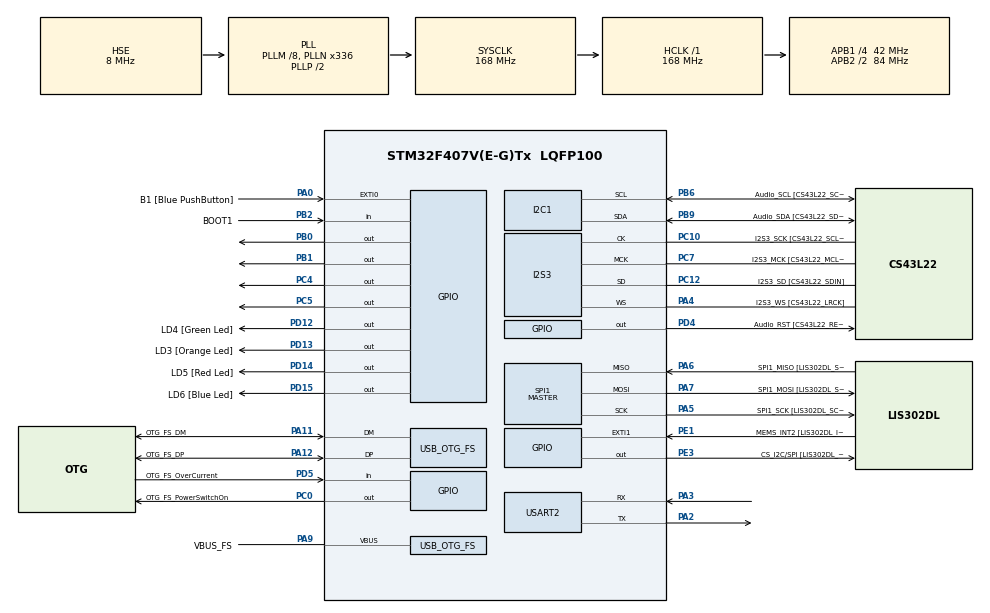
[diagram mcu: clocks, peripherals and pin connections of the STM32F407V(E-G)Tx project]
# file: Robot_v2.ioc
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FREERTOS.Tasks01=defaultTask,24,128,StartDefaultTask,Default,NULL,Dynamic,NULL,NULL
I2S3.AudioFreq-Half_Duplex_Master=I2S_AUDIOFREQ_96K
I2S3.ErrorAudioFreq=-2.34 %
I2S3.ErrorAudioFreq-Half_Duplex_Master=0.8 %
I2S3.FullDuplexMode=I2S_FULLDUPLEXMODE_DISABLE
I2S3.Instance=SPI$Index
I2S3.RealAudioFreq=93.75 KHz
I2S3.RealAudioFreq-Half_Duplex_Master=96.774 KHz
I2S3.VirtualMode=I2S_MODE_MASTER
Mcu.Family=STM32F4
Mcu.Name=STM32F407V(E-G)Tx
Mcu.Package=LQFP100
NVIC.OTG_FS_IRQn=true\:5\:0\:false\:false\:true\:true\:true\:true\:true
NVIC.PriorityGroup=NVIC_PRIORITYGROUP_4
PA0-WKUP.GPIO_Label=B1 [Blue PushButton]
PA0-WKUP.GPIO_ModeDefaultEXTI=GPIO_MODE_EVT_RISING
PA0-WKUP.GPIO_PuPd=GPIO_NOPULL
PA0-WKUP.Signal=GPXTI0
PA10.GPIO_Label=OTG_FS_ID
PA10.GPIO_Mode=GPIO_MODE_AF_PP
PA10.GPIO_PuPd=GPIO_NOPULL
PA10.GPIO_Speed=GPIO_SPEED_FREQ_LOW
PA10.Signal=USB_OTG_FS_ID
PA11.GPIO_Label=OTG_FS_DM
PA11.GPIO_Mode=GPIO_MODE_AF_PP
PA11.GPIO_PuPd=GPIO_NOPULL
PA11.GPIO_Speed=GPIO_SPEED_FREQ_LOW
PA11.Mode=Host_Only
PA11.Signal=USB_OTG_FS_DM
PA12.GPIO_Label=OTG_FS_DP
PA12.GPIO_Mode=GPIO_MODE_AF_PP
PA12.GPIO_PuPd=GPIO_NOPULL
PA12.GPIO_Speed=GPIO_SPEED_FREQ_LOW
PA12.Mode=Host_Only
PA12.Signal=USB_OTG_FS_DP
PA13.GPIO_Label=SWDIO
PA13.Mode=Serial_Wire
PA13.Signal=SYS_JTMS-SWDIO
PA14.GPIO_Label=SWCLK
PA14.Mode=Serial_Wire
PA14.Signal=SYS_JTCK-SWCLK
PA2.Mode=Asynchronous
PA2.Signal=USART2_TX
PA3.Mode=Asynchronous
PA3.Signal=USART2_RX
PA4.GPIO_Label=I2S3_WS [CS43L22_LRCK]
PA4.GPIO_Mode=GPIO_MODE_AF_PP
PA4.GPIO_PuPd=GPIO_NOPULL
PA4.GPIO_Speed=GPIO_SPEED_FREQ_LOW
PA4.Mode=Half_Duplex_Master
PA4.Signal=I2S3_WS
PA5.GPIO_Label=SPI1_SCK [LIS302DL_SCL/SPC]
PA5.GPIO_Mode=GPIO_MODE_AF_PP
PA5.GPIO_PuPd=GPIO_NOPULL
PA5.GPIO_Speed=GPIO_SPEED_FREQ_LOW
PA5.Mode=Full_Duplex_Master
PA5.Signal=SPI1_SCK
PA6.GPIO_Label=SPI1_MISO [LIS302DL_SDO]
PA6.GPIO_Mode=GPIO_MODE_AF_PP
PA6.GPIO_PuPd=GPIO_NOPULL
PA6.GPIO_Speed=GPIO_SPEED_FREQ_LOW
PA6.Mode=Full_Duplex_Master
PA6.Signal=SPI1_MISO
PA7.GPIO_Label=SPI1_MOSI [LIS302DL_SDA/SDI/SDO]
PA7.GPIO_Mode=GPIO_MODE_AF_PP
PA7.GPIO_PuPd=GPIO_NOPULL
PA7.GPIO_Speed=GPIO_SPEED_FREQ_LOW
PA7.Mode=Full_Duplex_Master
PA7.Signal=SPI1_MOSI
PA9.GPIO_Label=VBUS_FS
PA9.GPIO_Mode=GPIO_MODE_INPUT
PA9.GPIO_PuPd=GPIO_NOPULL
PA9.Mode=Activate_VBUS
PA9.Signal=USB_OTG_FS_VBUS
PB0.Signal=GPIO_Output
PB1.Signal=GPIO_Output
PB10.GPIO_Label=CLK_IN [MP45DT02_CLK]
PB10.GPIO_Mode=GPIO_MODE_AF_PP
PB10.GPIO_PuPd=GPIO_NOPULL
PB10.GPIO_Speed=GPIO_SPEED_FREQ_LOW
PB10.Signal=I2S2_CK
PB2.GPIO_Label=BOOT1
PB2.GPIO_Mode=GPIO_MODE_INPUT
PB2.GPIO_PuPd=GPIO_NOPULL
PB2.Signal=GPIO_Input
PB3.GPIO_Label=SWO
PB3.Signal=SYS_JTDO-SWO
PB6.GPIO_Label=Audio_SCL [CS43L22_SCL]
PB6.GPIO_Mode=GPIO_MODE_AF_OD
PB6.GPIO_Pu=GPIO_PULLUP
PB6.GPIO_PuPd=GPIO_NOPULL
PB6.GPIO_Speed=GPIO_SPEED_FREQ_LOW
PB6.Mode=I2C
PB6.Signal=I2C1_SCL
PB9.GPIO_Label=Audio_SDA [CS43L22_SDA]
PB9.GPIO_Mode=GPIO_MODE_AF_OD
PB9.GPIO_Pu=GPIO_PULLUP
PB9.GPIO_PuPd=GPIO_NOPULL
PB9.GPIO_Speed=GPIO_SPEED_FREQ_LOW
PB9.Mode=I2C
PB9.Signal=I2C1_SDA
PC0.GPIO_Label=OTG_FS_PowerSwitchOn
PC0.GPIO_PuPd=GPIO_NOPULL
PC0.GPIO_Speed=GPIO_SPEED_FREQ_LOW
PC0.PinState=GPIO_PIN_SET
PC0.Signal=GPIO_Output
PC10.GPIO_Label=I2S3_SCK [CS43L22_SCLK]
PC10.GPIO_Mode=GPIO_MODE_AF_PP
PC10.GPIO_PuPd=GPIO_NOPULL
PC10.GPIO_Speed=GPIO_SPEED_FREQ_LOW
PC10.Mode=Half_Duplex_Master
PC10.Signal=I2S3_CK
PC12.GPIO_Label=I2S3_SD [CS43L22_SDIN]
PC12.GPIO_Mode=GPIO_MODE_AF_PP
PC12.GPIO_PuPd=GPIO_NOPULL
PC12.GPIO_Speed=GPIO_SPEED_FREQ_LOW
PC12.Mode=Half_Duplex_Master
PC12.Signal=I2S3_SD
PC14-OSC32_IN.GPIO_Label=PC14-OSC32_IN
PC14-OSC32_IN.Mode=LSE-External-Oscillator
PC14-OSC32_IN.Signal=RCC_OSC32_IN
PC15-OSC32_OUT.GPIO_Label=PC15-OSC32_OUT
PC15-OSC32_OUT.Mode=LSE-External-Oscillator
PC15-OSC32_OUT.Signal=RCC_OSC32_OUT
PC3.GPIO_Label=PDM_OUT [MP45DT02_DOUT]
PC3.GPIO_Mode=GPIO_MODE_AF_PP
PC3.GPIO_PuPd=GPIO_NOPULL
PC3.GPIO_Speed=GPIO_SPEED_FREQ_LOW
PC3.Signal=I2S2_SD
PC4.Signal=GPIO_Output
PC5.Signal=GPIO_Output
PC7.GPIO_Label=I2S3_MCK [CS43L22_MCLK]
PC7.GPIO_Mode=GPIO_MODE_AF_PP
PC7.GPIO_PuPd=GPIO_NOPULL
PC7.GPIO_Speed=GPIO_SPEED_FREQ_LOW
PC7.Mode=Master_Clock_Activated
PC7.Signal=I2S3_MCK
PD12.GPIO_Label=LD4 [Green Led]
PD12.GPIO_PuPd=GPIO_NOPULL
PD12.GPIO_Speed=GPIO_SPEED_FREQ_LOW
PD12.Signal=GPIO_Output
PD13.GPIO_Label=LD3 [Orange Led]
PD13.GPIO_PuPd=GPIO_NOPULL
PD13.GPIO_Speed=GPIO_SPEED_FREQ_LOW
PD13.Signal=GPIO_Output
PD14.GPIO_Label=LD5 [Red Led]
PD14.GPIO_PuPd=GPIO_NOPULL
PD14.GPIO_Speed=GPIO_SPEED_FREQ_LOW
PD14.Signal=GPIO_Output
PD15.GPIO_Label=LD6 [Blue Led]
PD15.GPIO_PuPd=GPIO_NOPULL
PD15.GPIO_Speed=GPIO_SPEED_FREQ_LOW
PD15.Signal=GPIO_Output
PD4.GPIO_Label=Audio_RST [CS43L22_RESET]
PD4.GPIO_PuPd=GPIO_NOPULL
PD4.GPIO_Speed=GPIO_SPEED_FREQ_LOW
PD4.Signal=GPIO_Output
PD5.GPIO_Label=OTG_FS_OverCurrent
PD5.GPIO_Mode=GPIO_MODE_INPUT
PD5.GPIO_PuPd=GPIO_NOPULL
PD5.Signal=GPIO_Input
PE1.GPIO_Label=MEMS_INT2 [LIS302DL_INT2]
PE1.GPIO_ModeDefaultEXTI=GPIO_MODE_EVT_RISING
PE1.GPIO_PuPd=GPIO_NOPULL
PE1.Signal=GPXTI1
PE3.GPIO_Label=CS_I2C/SPI [LIS302DL_CS_I2C/SPI]
PE3.GPIO_PuPd=GPIO_NOPULL
PE3.GPIO_Speed=GPIO_SPEED_FREQ_LOW
PE3.Signal=GPIO_Output
PH0-OSC_IN.GPIO_Label=PH0-OSC_IN
PH0-OSC_IN.Mode=HSE-External-Oscillator
PH0-OSC_IN.Signal=RCC_OSC_IN
PH1-OSC_OUT.GPIO_Label=PH1-OSC_OUT
PH1-OSC_OUT.Mode=HSE-External-Oscillator
PH1-OSC_OUT.Signal=RCC_OSC_OUT
ProjectManager.HeapSize=0x200
ProjectManager.StackSize=0x400
ProjectManager.TargetToolchain=STM32CubeIDE
RCC.48MHZClocksFreq_Value=48000000
RCC.AHBFreq_Value=168000000
RCC.APB1CLKDivider=RCC_HCLK_DIV4
RCC.APB1Freq_Value=42000000
RCC.APB1TimFreq_Value=84000000
RCC.APB2CLKDivider=RCC_HCLK_DIV2
RCC.APB2Freq_Value=84000000
RCC.APB2TimFreq_Value=168000000
RCC.CortexFreq_Value=168000000
RCC.HCLKFreq_Value=168000000
RCC.HSE_VALUE=8000000
RCC.HSI_VALUE=16000000
RCC.PLLM=8
RCC.PLLN=336
RCC.PLLQ=7
RCC.SYSCLKFreq_VALUE=168000000
RCC.SYSCLKSource=RCC_SYSCLKSOURCE_PLLCLK
RCC.VCOOutputFreq_Value=336000000
SPI1.BaudRatePrescaler-Full_Duplex_Master=SPI_BAUDRATEPRESCALER_2
SPI1.CalculateBaudRate-Full_Duplex_Master=42.0 MBits/s
SPI1.Direction=SPI_DIRECTION_2LINES
SPI1.Mode=SPI_MODE_MASTER
SPI1.Mode-Full_Duplex_Master=SPI_MODE_MASTER
SPI1.VirtualType=VM_MASTER
USART2.VirtualMode=VM_ASYNC
USB_HOST.BSP.number=1
USB_HOST.USBH_HandleTypeDef-CDC_FS=hUsbHostFS
USB_HOST.VirtualModeFS=Cdc
USB_HOST0.BSP.STBoard=false
USB_HOST0.BSP.api=Unknown
USB_HOST0.BSP.instance=PC0
USB_HOST0.BSP.ip=GPIO
USB_HOST0.BSP.mode=Output
USB_HOST0.BSP.name=Drive_VBUS_FS
USB_HOST0.BSP.solution=PC0
USB_OTG_FS.VirtualMode=Host_Only
USB_OTG_FS.phy_itface=HCD_PHY_EMBEDDED
VP_FREERTOS_VS_CMSIS_V2.Mode=CMSIS_V2
VP_USB_HOST_VS_USB_HOST_CDC_FS.Mode=CDC_FS
board=STM32F407G-DISC1

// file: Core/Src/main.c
/* USER CODE BEGIN Header */
/**
  ******************************************************************************
  * @file           : main.c
  * @brief          : Main program body
  ******************************************************************************
  * @attention
  *
  * Copyright (c) 2026 STMicroelectronics.
  * All rights reserved.
  *
  * This software is licensed under terms that can be found in the LICENSE file
  * in the root directory of this software component.
  * If no LICENSE file comes with this software, it is provided AS-IS.
  *
  ******************************************************************************
  */
/* USER CODE END Header */
#include "main.h"
#include "cmsis_os.h"
#include "usb_host.h"

/* USER CODE BEGIN Includes */

#include <string.h>

/* USER CODE END Includes */

I2C_HandleTypeDef hi2c1;

I2S_HandleTypeDef hi2s3;

SPI_HandleTypeDef hspi1;

UART_HandleTypeDef huart2;

/* Definitions for defaultTask */
osThreadId_t defaultTaskHandle;
const osThreadAttr_t defaultTask_attributes = {
  .name = "defaultTask",
  .stack_size = 128 * 4,
  .priority = (osPriority_t) osPriorityNormal,
};
/* USER CODE BEGIN PV */

/* L298N channel A: PB0 -> IN1, PB1 -> IN2. ENA jumper installed. */
/* L298N channel B: PC4 -> IN3, PC5 -> IN4. ENB jumper installed. */
#define MOTOR_A_IN1_Pin   GPIO_PIN_0
#define MOTOR_A_IN2_Pin   GPIO_PIN_1
#define MOTOR_A_GPIO_Port GPIOB

#define MOTOR_B_IN3_Pin   GPIO_PIN_4
#define MOTOR_B_IN4_Pin   GPIO_PIN_5
#define MOTOR_B_GPIO_Port GPIOC

typedef enum
{
  MOTOR_STATE_WAITING,
  MOTOR_STATE_FORWARD,
  MOTOR_STATE_STOPPED
} MotorState_t;

static volatile MotorState_t motorState = MOTOR_STATE_WAITING;

osThreadId_t motorTaskHandle;
const osThreadAttr_t motorTask_attributes = {
  .name = "motorTask",
  .stack_size = 128 * 4,
  .priority = (osPriority_t) osPriorityNormal,
};

/* USER CODE END PV */

void SystemClock_Config(void);
static void MX_GPIO_Init(void);
static void MX_I2C1_Init(void);
static void MX_I2S3_Init(void);
static void MX_SPI1_Init(void);
static void MX_USART2_UART_Init(void);
void StartDefaultTask(void *argument);

/* USER CODE BEGIN PFP */

void StartMotorTask(void *argument);

/* USER CODE END PFP */

int main(void)
{

  /* MCU Configuration--------------------------------------------------------*/

  /* Reset of all peripherals, Initializes the Flash interface and the Systick. */
  HAL_Init();

  /* Configure the system clock */
  SystemClock_Config();

  /* Initialize all configured peripherals */
  MX_GPIO_Init();
  MX_I2C1_Init();
  MX_I2S3_Init();
  MX_SPI1_Init();
  MX_USART2_UART_Init();

  /* Init scheduler */
  osKernelInitialize();

  /* Create the thread(s) */
  /* creation of defaultTask */
  defaultTaskHandle = osThreadNew(StartDefaultTask, NULL, &defaultTask_attributes);

  /* USER CODE BEGIN RTOS_THREADS */
  motorTaskHandle = osThreadNew(StartMotorTask, NULL, &motorTask_attributes);
  /* USER CODE END RTOS_THREADS */

  /* Start scheduler */
  osKernelStart();

  /* We should never get here as control is now taken by the scheduler */

  /* Infinite loop */
  while (1)
  {

  }
}

void SystemClock_Config(void)
{
  RCC_OscInitTypeDef RCC_OscInitStruct = {0};
  RCC_ClkInitTypeDef RCC_ClkInitStruct = {0};

  /** Configure the main internal regulator output voltage
  */
  __HAL_RCC_PWR_CLK_ENABLE();
  __HAL_PWR_VOLTAGESCALING_CONFIG(PWR_REGULATOR_VOLTAGE_SCALE1);

  /** Initializes the RCC Oscillators according to the specified parameters
  * in the RCC_OscInitTypeDef structure.
  */
  RCC_OscInitStruct.OscillatorType = RCC_OSCILLATORTYPE_HSE;
  RCC_OscInitStruct.HSEState = RCC_HSE_ON;
  RCC_OscInitStruct.PLL.PLLState = RCC_PLL_ON;
  RCC_OscInitStruct.PLL.PLLSource = RCC_PLLSOURCE_HSE;
  RCC_OscInitStruct.PLL.PLLM = 8;
  RCC_OscInitStruct.PLL.PLLN = 336;
  RCC_OscInitStruct.PLL.PLLP = RCC_PLLP_DIV2;
  RCC_OscInitStruct.PLL.PLLQ = 7;
  if (HAL_RCC_OscConfig(&RCC_OscInitStruct) != HAL_OK)
  {
    Error_Handler();
  }

  /** Initializes the CPU, AHB and APB buses clocks
  */
  RCC_ClkInitStruct.ClockType = RCC_CLOCKTYPE_HCLK|RCC_CLOCKTYPE_SYSCLK
                              |RCC_CLOCKTYPE_PCLK1|RCC_CLOCKTYPE_PCLK2;
  RCC_ClkInitStruct.SYSCLKSource = RCC_SYSCLKSOURCE_PLLCLK;
  RCC_ClkInitStruct.AHBCLKDivider = RCC_SYSCLK_DIV1;
  RCC_ClkInitStruct.APB1CLKDivider = RCC_HCLK_DIV4;
  RCC_ClkInitStruct.APB2CLKDivider = RCC_HCLK_DIV2;

  if (HAL_RCC_ClockConfig(&RCC_ClkInitStruct, FLASH_LATENCY_5) != HAL_OK)
  {
    Error_Handler();
  }
}

static void MX_I2C1_Init(void)
{

  hi2c1.Instance = I2C1;
  hi2c1.Init.ClockSpeed = 100000;
  hi2c1.Init.DutyCycle = I2C_DUTYCYCLE_2;
  hi2c1.Init.OwnAddress1 = 0;
  hi2c1.Init.AddressingMode = I2C_ADDRESSINGMODE_7BIT;
  hi2c1.Init.DualAddressMode = I2C_DUALADDRESS_DISABLE;
  hi2c1.Init.OwnAddress2 = 0;
  hi2c1.Init.GeneralCallMode = I2C_GENERALCALL_DISABLE;
  hi2c1.Init.NoStretchMode = I2C_NOSTRETCH_DISABLE;
  if (HAL_I2C_Init(&hi2c1) != HAL_OK)
  {
    Error_Handler();
  }

}

static void MX_I2S3_Init(void)
{

  hi2s3.Instance = SPI3;
  hi2s3.Init.Mode = I2S_MODE_MASTER_TX;
  hi2s3.Init.Standard = I2S_STANDARD_PHILIPS;
  hi2s3.Init.DataFormat = I2S_DATAFORMAT_16B;
  hi2s3.Init.MCLKOutput = I2S_MCLKOUTPUT_ENABLE;
  hi2s3.Init.AudioFreq = I2S_AUDIOFREQ_96K;
  hi2s3.Init.CPOL = I2S_CPOL_LOW;
  hi2s3.Init.ClockSource = I2S_CLOCK_PLL;
  hi2s3.Init.FullDuplexMode = I2S_FULLDUPLEXMODE_DISABLE;
  if (HAL_I2S_Init(&hi2s3) != HAL_OK)
  {
    Error_Handler();
  }

}

static void MX_SPI1_Init(void)
{

  /* SPI1 parameter configuration*/
  hspi1.Instance = SPI1;
  hspi1.Init.Mode = SPI_MODE_MASTER;
  hspi1.Init.Direction = SPI_DIRECTION_2LINES;
  hspi1.Init.DataSize = SPI_DATASIZE_8BIT;
  hspi1.Init.CLKPolarity = SPI_POLARITY_LOW;
  hspi1.Init.CLKPhase = SPI_PHASE_1EDGE;
  hspi1.Init.NSS = SPI_NSS_SOFT;
  hspi1.Init.BaudRatePrescaler = SPI_BAUDRATEPRESCALER_2;
  hspi1.Init.FirstBit = SPI_FIRSTBIT_MSB;
  hspi1.Init.TIMode = SPI_TIMODE_DISABLE;
  hspi1.Init.CRCCalculation = SPI_CRCCALCULATION_DISABLE;
  hspi1.Init.CRCPolynomial = 10;
  if (HAL_SPI_Init(&hspi1) != HAL_OK)
  {
    Error_Handler();
  }

}

static void MX_USART2_UART_Init(void)
{

  huart2.Instance = USART2;
  huart2.Init.BaudRate = 115200;
  huart2.Init.WordLength = UART_WORDLENGTH_8B;
  huart2.Init.StopBits = UART_STOPBITS_1;
  huart2.Init.Parity = UART_PARITY_NONE;
  huart2.Init.Mode = UART_MODE_TX_RX;
  huart2.Init.HwFlowCtl = UART_HWCONTROL_NONE;
  huart2.Init.OverSampling = UART_OVERSAMPLING_16;
  if (HAL_UART_Init(&huart2) != HAL_OK)
  {
    Error_Handler();
  }

}

static void MX_GPIO_Init(void)
{
  GPIO_InitTypeDef GPIO_InitStruct = {0};

  /* GPIO Ports Clock Enable */
  __HAL_RCC_GPIOE_CLK_ENABLE();
  __HAL_RCC_GPIOC_CLK_ENABLE();
  __HAL_RCC_GPIOH_CLK_ENABLE();
  __HAL_RCC_GPIOA_CLK_ENABLE();
  __HAL_RCC_GPIOB_CLK_ENABLE();
  __HAL_RCC_GPIOD_CLK_ENABLE();

  /*Configure GPIO pin Output Level */
  HAL_GPIO_WritePin(CS_I2C_SPI_GPIO_Port, CS_I2C_SPI_Pin, GPIO_PIN_RESET);

  /*Configure GPIO pin Output Level */
  HAL_GPIO_WritePin(OTG_FS_PowerSwitchOn_GPIO_Port, OTG_FS_PowerSwitchOn_Pin, GPIO_PIN_SET);

  /*Configure GPIO pin Output Level */
  HAL_GPIO_WritePin(GPIOC, GPIO_PIN_4|GPIO_PIN_5, GPIO_PIN_RESET);

  /*Configure GPIO pin Output Level */
  HAL_GPIO_WritePin(GPIOB, GPIO_PIN_0|GPIO_PIN_1, GPIO_PIN_RESET);

  /*Configure GPIO pin Output Level */
  HAL_GPIO_WritePin(GPIOD, LD4_Pin|LD3_Pin|LD5_Pin|LD6_Pin
                          |Audio_RST_Pin, GPIO_PIN_RESET);

  /*Configure GPIO pin : CS_I2C_SPI_Pin */
  GPIO_InitStruct.Pin = CS_I2C_SPI_Pin;
  GPIO_InitStruct.Mode = GPIO_MODE_OUTPUT_PP;
  GPIO_InitStruct.Pull = GPIO_NOPULL;
  GPIO_InitStruct.Speed = GPIO_SPEED_FREQ_LOW;
  HAL_GPIO_Init(CS_I2C_SPI_GPIO_Port, &GPIO_InitStruct);

  /*Configure GPIO pins : OTG_FS_PowerSwitchOn_Pin PC4 PC5 */
  GPIO_InitStruct.Pin = OTG_FS_PowerSwitchOn_Pin|GPIO_PIN_4|GPIO_PIN_5;
  GPIO_InitStruct.Mode = GPIO_MODE_OUTPUT_PP;
  GPIO_InitStruct.Pull = GPIO_NOPULL;
  GPIO_InitStruct.Speed = GPIO_SPEED_FREQ_LOW;
  HAL_GPIO_Init(GPIOC, &GPIO_InitStruct);

  /*Configure GPIO pin : PDM_OUT_Pin */
  GPIO_InitStruct.Pin = PDM_OUT_Pin;
  GPIO_InitStruct.Mode = GPIO_MODE_AF_PP;
  GPIO_InitStruct.Pull = GPIO_NOPULL;
  GPIO_InitStruct.Speed = GPIO_SPEED_FREQ_LOW;
  GPIO_InitStruct.Alternate = GPIO_AF5_SPI2;
  HAL_GPIO_Init(PDM_OUT_GPIO_Port, &GPIO_InitStruct);

  /*Configure GPIO pin : B1_Pin */
  GPIO_InitStruct.Pin = B1_Pin;
  GPIO_InitStruct.Mode = GPIO_MODE_EVT_RISING;
  GPIO_InitStruct.Pull = GPIO_NOPULL;
  HAL_GPIO_Init(B1_GPIO_Port, &GPIO_InitStruct);

  /*Configure GPIO pins : PB0 PB1 */
  GPIO_InitStruct.Pin = GPIO_PIN_0|GPIO_PIN_1;
  GPIO_InitStruct.Mode = GPIO_MODE_OUTPUT_PP;
  GPIO_InitStruct.Pull = GPIO_NOPULL;
  GPIO_InitStruct.Speed = GPIO_SPEED_FREQ_LOW;
  HAL_GPIO_Init(GPIOB, &GPIO_InitStruct);

  /*Configure GPIO pin : BOOT1_Pin */
  GPIO_InitStruct.Pin = BOOT1_Pin;
  GPIO_InitStruct.Mode = GPIO_MODE_INPUT;
  GPIO_InitStruct.Pull = GPIO_NOPULL;
  HAL_GPIO_Init(BOOT1_GPIO_Port, &GPIO_InitStruct);

  /*Configure GPIO pin : CLK_IN_Pin */
  GPIO_InitStruct.Pin = CLK_IN_Pin;
  GPIO_InitStruct.Mode = GPIO_MODE_AF_PP;
  GPIO_InitStruct.Pull = GPIO_NOPULL;
  GPIO_InitStruct.Speed = GPIO_SPEED_FREQ_LOW;
  GPIO_InitStruct.Alternate = GPIO_AF5_SPI2;
  HAL_GPIO_Init(CLK_IN_GPIO_Port, &GPIO_InitStruct);

  /*Configure GPIO pins : LD4_Pin LD3_Pin LD5_Pin LD6_Pin
                           Audio_RST_Pin */
  GPIO_InitStruct.Pin = LD4_Pin|LD3_Pin|LD5_Pin|LD6_Pin
                          |Audio_RST_Pin;
  GPIO_InitStruct.Mode = GPIO_MODE_OUTPUT_PP;
  GPIO_InitStruct.Pull = GPIO_NOPULL;
  GPIO_InitStruct.Speed = GPIO_SPEED_FREQ_LOW;
  HAL_GPIO_Init(GPIOD, &GPIO_InitStruct);

  /*Configure GPIO pin : OTG_FS_OverCurrent_Pin */
  GPIO_InitStruct.Pin = OTG_FS_OverCurrent_Pin;
  GPIO_InitStruct.Mode = GPIO_MODE_INPUT;
  GPIO_InitStruct.Pull = GPIO_NOPULL;
  HAL_GPIO_Init(OTG_FS_OverCurrent_GPIO_Port, &GPIO_InitStruct);

  /*Configure GPIO pin : MEMS_INT2_Pin */
  GPIO_InitStruct.Pin = MEMS_INT2_Pin;
  GPIO_InitStruct.Mode = GPIO_MODE_EVT_RISING;
  GPIO_InitStruct.Pull = GPIO_NOPULL;
  HAL_GPIO_Init(MEMS_INT2_GPIO_Port, &GPIO_InitStruct);

}

/* USER CODE BEGIN 4 */

void StartMotorTask(void *argument)
{
  osDelay(1000);

  /* Motor A forward, Motor B forward */
  motorState = MOTOR_STATE_FORWARD;
  HAL_GPIO_WritePin(MOTOR_A_GPIO_Port, MOTOR_A_IN1_Pin, GPIO_PIN_SET);
  HAL_GPIO_WritePin(MOTOR_A_GPIO_Port, MOTOR_A_IN2_Pin, GPIO_PIN_RESET);
  HAL_GPIO_WritePin(MOTOR_B_GPIO_Port, MOTOR_B_IN3_Pin, GPIO_PIN_SET);
  HAL_GPIO_WritePin(MOTOR_B_GPIO_Port, MOTOR_B_IN4_Pin, GPIO_PIN_RESET);

  osDelay(2000);

  /* Stop both motors */
  motorState = MOTOR_STATE_STOPPED;
  HAL_GPIO_WritePin(MOTOR_A_GPIO_Port, MOTOR_A_IN1_Pin, GPIO_PIN_RESET);
  HAL_GPIO_WritePin(MOTOR_A_GPIO_Port, MOTOR_A_IN2_Pin, GPIO_PIN_RESET);
  HAL_GPIO_WritePin(MOTOR_B_GPIO_Port, MOTOR_B_IN3_Pin, GPIO_PIN_RESET);
  HAL_GPIO_WritePin(MOTOR_B_GPIO_Port, MOTOR_B_IN4_Pin, GPIO_PIN_RESET);

  for (;;)
  {
    osDelay(osWaitForever);
  }
}

/* USER CODE END 4 */

void StartDefaultTask(void *argument)
{
  /* init code for USB_HOST */
  MX_USB_HOST_Init();
  /* USER CODE BEGIN 5 */
  /* Infinite loop */
  for(;;)
  {
	  const char *message;

	  switch (motorState)
	  {
	    case MOTOR_STATE_FORWARD:
	      message = "Motor: forward\r\n";
	      break;
	    case MOTOR_STATE_STOPPED:
	      message = "Motor: stopped\r\n";
	      break;
	    case MOTOR_STATE_WAITING:
	    default:
	      message = "Motor: waiting\r\n";
	      break;
	  }

	  HAL_GPIO_TogglePin(GPIOD, LD4_Pin);
	  HAL_UART_Transmit(
	         &huart2,
	         (uint8_t *)message,
	         strlen(message),
	         100
	     );

	  osDelay(500);
  }
  /* USER CODE END 5 */
}

void Error_Handler(void)
{
  __disable_irq();
  while (1)
  {
  }
}
